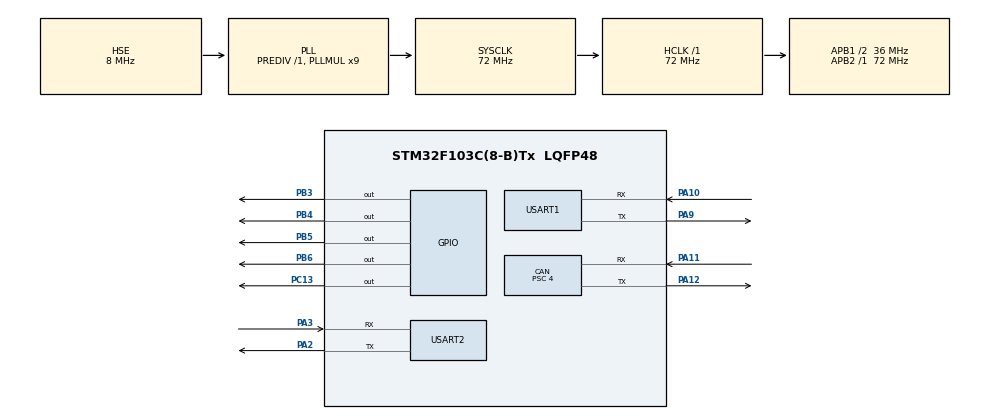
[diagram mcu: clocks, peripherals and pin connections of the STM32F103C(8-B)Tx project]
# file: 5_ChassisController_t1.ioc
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CAN.ABOM=ENABLE
CAN.BS1=CAN_BS1_13TQ
CAN.BS2=CAN_BS2_4TQ
CAN.CalculateBaudRate=500000
CAN.CalculateTimeBit=2000
CAN.CalculateTimeQuantum=111.11111111111111
CAN.Mode=CAN_MODE_NORMAL
CAN.NART=ENABLE
CAN.Prescaler=4
CAN.TXFP=ENABLE
Dma.Request0=USART1_RX
Dma.Request1=USART1_TX
Dma.Request2=USART2_RX
Dma.Request3=USART2_TX
Dma.USART1_RX.0.Direction=DMA_PERIPH_TO_MEMORY
Dma.USART1_RX.0.Instance=DMA1_Channel5
Dma.USART1_RX.0.MemDataAlignment=DMA_MDATAALIGN_BYTE
Dma.USART1_RX.0.MemInc=DMA_MINC_ENABLE
Dma.USART1_RX.0.Mode=DMA_NORMAL
Dma.USART1_RX.0.PeriphDataAlignment=DMA_PDATAALIGN_BYTE
Dma.USART1_RX.0.PeriphInc=DMA_PINC_DISABLE
Dma.USART1_RX.0.Priority=DMA_PRIORITY_HIGH
Dma.USART1_TX.1.Direction=DMA_MEMORY_TO_PERIPH
Dma.USART1_TX.1.Instance=DMA1_Channel4
Dma.USART1_TX.1.MemDataAlignment=DMA_MDATAALIGN_BYTE
Dma.USART1_TX.1.MemInc=DMA_MINC_ENABLE
Dma.USART1_TX.1.Mode=DMA_NORMAL
Dma.USART1_TX.1.PeriphDataAlignment=DMA_PDATAALIGN_BYTE
Dma.USART1_TX.1.PeriphInc=DMA_PINC_DISABLE
Dma.USART1_TX.1.Priority=DMA_PRIORITY_HIGH
Dma.USART2_RX.2.Direction=DMA_PERIPH_TO_MEMORY
Dma.USART2_RX.2.Instance=DMA1_Channel6
Dma.USART2_RX.2.MemDataAlignment=DMA_MDATAALIGN_BYTE
Dma.USART2_RX.2.MemInc=DMA_MINC_ENABLE
Dma.USART2_RX.2.Mode=DMA_NORMAL
Dma.USART2_RX.2.PeriphDataAlignment=DMA_PDATAALIGN_BYTE
Dma.USART2_RX.2.PeriphInc=DMA_PINC_DISABLE
Dma.USART2_RX.2.Priority=DMA_PRIORITY_LOW
Dma.USART2_TX.3.Direction=DMA_MEMORY_TO_PERIPH
Dma.USART2_TX.3.Instance=DMA1_Channel7
Dma.USART2_TX.3.MemDataAlignment=DMA_MDATAALIGN_BYTE
Dma.USART2_TX.3.MemInc=DMA_MINC_ENABLE
Dma.USART2_TX.3.Mode=DMA_NORMAL
Dma.USART2_TX.3.PeriphDataAlignment=DMA_PDATAALIGN_BYTE
Dma.USART2_TX.3.PeriphInc=DMA_PINC_DISABLE
Dma.USART2_TX.3.Priority=DMA_PRIORITY_LOW
FREERTOS.BinarySemaphores01=uart1_tx_sem,Static,uart1_tx_semControlBlock,Depleted
FREERTOS.Events01=uart1_rx_event,Static,uart1_rx_eventControlBlock
FREERTOS.Mutexes01=uart1_tx_mutex,Static,uart1_tx_mutexControlBlock,Available
FREERTOS.Queues01=canRxQueue,16,App_CAN_Message_t,0,Dynamic,NULL,NULL;uartToCanQueue,16,App_UART_Message_t,0,Dynamic,NULL,NULL;canTxQueue,16,App_CAN_Message_t,0,Dynamic,NULL,NULL
FREERTOS.Tasks01=UartToCan_Ta,24,512,Start_UartToCan,Default,NULL,Static,uartToCanTaskBuffer,uartToCanTaskControlBlock;CanRxProcess_Ta,24,512,Start_CanRxProcess,Default,NULL,Static,canRxProcessTasBuffer,canRxProcessTasControlBlock;Heartbeat_Ta,8,64,Start_Heartbeat,Default,NULL,Static,Heartbeat_TaBuffer,Heartbeat_TaControlBlock;ProtocolParser_,25,256,Start_ProtocolParser,Default,NULL,Static,ProtocolParser_Buffer,ProtocolParser_ControlBlock;CommandProcess_Ta,25,256,Start_CommandProcess,Default,NULL,Static,CommandProcess_TaBuffer,CommandProcess_TaControlBlock
FREERTOS.configCHECK_FOR_STACK_OVERFLOW=2
FREERTOS.configMAX_TASK_NAME_LEN=24
FREERTOS.configMINIMAL_STACK_SIZE=64
Mcu.Family=STM32F1
Mcu.Name=STM32F103C(8-B)Tx
Mcu.Package=LQFP48
NVIC.DMA1_Channel4_IRQn=true\:5\:0\:false\:false\:true\:true\:false\:true\:true
NVIC.DMA1_Channel5_IRQn=true\:5\:0\:false\:false\:true\:true\:false\:true\:true
NVIC.DMA1_Channel6_IRQn=true\:5\:0\:false\:false\:true\:true\:false\:true\:true
NVIC.DMA1_Channel7_IRQn=true\:5\:0\:false\:false\:true\:true\:false\:true\:true
NVIC.PriorityGroup=NVIC_PRIORITYGROUP_4
NVIC.TIM4_IRQn=true\:15\:0\:false\:false\:true\:false\:false\:true\:true
NVIC.TimeBase=TIM4_IRQn
NVIC.TimeBaseIP=TIM4
NVIC.USART1_IRQn=true\:5\:0\:false\:false\:true\:true\:true\:true\:true
NVIC.USART2_IRQn=true\:5\:0\:false\:false\:true\:true\:true\:true\:true
NVIC.USB_HP_CAN1_TX_IRQn=true\:5\:0\:false\:false\:true\:true\:true\:true\:true
NVIC.USB_LP_CAN1_RX0_IRQn=true\:5\:0\:false\:false\:true\:true\:true\:true\:true
PA10.Mode=Asynchronous
PA10.Signal=USART1_RX
PA11.Mode=CAN_Activate
PA11.Signal=CAN_RX
PA12.Mode=CAN_Activate
PA12.Signal=CAN_TX
PA13.Mode=Serial_Wire
PA13.Signal=SYS_JTMS-SWDIO
PA14.Mode=Serial_Wire
PA14.Signal=SYS_JTCK-SWCLK
PA2.Mode=Asynchronous
PA2.Signal=USART2_TX
PA3.Mode=Asynchronous
PA3.Signal=USART2_RX
PA9.Mode=Asynchronous
PA9.Signal=USART1_TX
PB3.PinState=GPIO_PIN_SET
PB3.Signal=GPIO_Output
PB4.PinState=GPIO_PIN_SET
PB4.Signal=GPIO_Output
PB5.PinState=GPIO_PIN_SET
PB5.Signal=GPIO_Output
PB6.PinState=GPIO_PIN_SET
PB6.Signal=GPIO_Output
PC13-TAMPER-RTC.PinState=GPIO_PIN_SET
PC13-TAMPER-RTC.Signal=GPIO_Output
PD0-OSC_IN.Mode=HSE-External-Oscillator
PD0-OSC_IN.Signal=RCC_OSC_IN
PD1-OSC_OUT.Mode=HSE-External-Oscillator
PD1-OSC_OUT.Signal=RCC_OSC_OUT
ProjectManager.HeapSize=0x200
ProjectManager.StackSize=0x800
ProjectManager.TargetToolchain=CMake
RCC.AHBFreq_Value=72000000
RCC.APB1CLKDivider=RCC_HCLK_DIV2
RCC.APB1Freq_Value=36000000
RCC.APB1TimFreq_Value=72000000
RCC.APB2Freq_Value=72000000
RCC.APB2TimFreq_Value=72000000
RCC.EnbaleCSS=true
RCC.HCLKFreq_Value=72000000
RCC.PLLMUL=RCC_PLL_MUL9
RCC.PLLSourceVirtual=RCC_PLLSOURCE_HSE
RCC.SYSCLKFreq_VALUE=72000000
RCC.SYSCLKSource=RCC_SYSCLKSOURCE_PLLCLK
RCC.USBFreq_Value=72000000
USART1.VirtualMode=VM_ASYNC
USART2.VirtualMode=VM_ASYNC
VP_FREERTOS_VS_CMSIS_V2.Mode=CMSIS_V2
VP_SYS_VS_tim4.Mode=TIM4
board=custom

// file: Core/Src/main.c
/* USER CODE BEGIN Header */
/**
  ******************************************************************************
  * @file           : main.c
  * @brief          : Main program body
  ******************************************************************************
  * @attention
  *
  * Copyright (c) 2026 STMicroelectronics.
  * All rights reserved.
  *
  * This software is licensed under terms that can be found in the LICENSE file
  * in the root directory of this software component.
  * If no LICENSE file comes with this software, it is provided AS-IS.
  *
  ******************************************************************************
  */
/* USER CODE END Header */
#include "main.h"
#include "cmsis_os.h"
#include "can.h"
#include "dma.h"
#include "usart.h"
#include "gpio.h"

void SystemClock_Config(void);
void MX_FREERTOS_Init(void);

int main(void)
{

  /* MCU Configuration--------------------------------------------------------*/

  /* Reset of all peripherals, Initializes the Flash interface and the Systick. */
  HAL_Init();

  /* Configure the system clock */
  SystemClock_Config();

  /* Initialize all configured peripherals */
  MX_GPIO_Init();
  MX_DMA_Init();
  MX_CAN_Init();
  MX_USART1_UART_Init();
  MX_USART2_UART_Init();

  /* USER CODE BEGIN 2 */
  /* 启动诊断：Phase1 调试时启用，验证UART TX硬件正常。
   * 用完后注释掉以减少启动输出。
   */
  // HAL_UART_Transmit(&huart1, (uint8_t*)"BOOT: System starting...\r\n", 26, 100);

  CAN_Filter_Config(); // 初始化CAN过滤器

  if (HAL_CAN_Start(&hcan) != HAL_OK) // 启动CAN
  {
    Error_Handler();
  }

  if (HAL_CAN_ActivateNotification(&hcan, CAN_IT_RX_FIFO0_MSG_PENDING) != HAL_OK) // 使能CAN接收中断
  {
    Error_Handler();
  }

  UART_Receive_Start(); // 启动UART接收
  /* USER CODE END 2 */

  /* Init scheduler */
  osKernelInitialize();  /* Call init function for freertos objects (in cmsis_os2.c) */
  MX_FREERTOS_Init();

  /* Start scheduler */
  osKernelStart();

  /* We should never get here as control is now taken by the scheduler */

  /* Infinite loop */
  while (1)
  {

  }
}

void SystemClock_Config(void)
{
  RCC_OscInitTypeDef RCC_OscInitStruct = {0};
  RCC_ClkInitTypeDef RCC_ClkInitStruct = {0};

  /** Initializes the RCC Oscillators according to the specified parameters
  * in the RCC_OscInitTypeDef structure.
  */
  RCC_OscInitStruct.OscillatorType = RCC_OSCILLATORTYPE_HSE;
  RCC_OscInitStruct.HSEState = RCC_HSE_ON;
  RCC_OscInitStruct.HSEPredivValue = RCC_HSE_PREDIV_DIV1;
  RCC_OscInitStruct.HSIState = RCC_HSI_ON;
  RCC_OscInitStruct.PLL.PLLState = RCC_PLL_ON;
  RCC_OscInitStruct.PLL.PLLSource = RCC_PLLSOURCE_HSE;
  RCC_OscInitStruct.PLL.PLLMUL = RCC_PLL_MUL9;
  if (HAL_RCC_OscConfig(&RCC_OscInitStruct) != HAL_OK)
  {
    Error_Handler();
  }

  /** Initializes the CPU, AHB and APB buses clocks
  */
  RCC_ClkInitStruct.ClockType = RCC_CLOCKTYPE_HCLK|RCC_CLOCKTYPE_SYSCLK
                              |RCC_CLOCKTYPE_PCLK1|RCC_CLOCKTYPE_PCLK2;
  RCC_ClkInitStruct.SYSCLKSource = RCC_SYSCLKSOURCE_PLLCLK;
  RCC_ClkInitStruct.AHBCLKDivider = RCC_SYSCLK_DIV1;
  RCC_ClkInitStruct.APB1CLKDivider = RCC_HCLK_DIV2;
  RCC_ClkInitStruct.APB2CLKDivider = RCC_HCLK_DIV1;

  if (HAL_RCC_ClockConfig(&RCC_ClkInitStruct, FLASH_LATENCY_2) != HAL_OK)
  {
    Error_Handler();
  }

  /** Enables the Clock Security System
  */
  HAL_RCC_EnableCSS();
}

void HAL_TIM_PeriodElapsedCallback(TIM_HandleTypeDef *htim)
{
  if (htim->Instance == TIM4)
  {
    HAL_IncTick();
  }
}

void Error_Handler(void)
{
  __disable_irq();
  while (1)
  {
  }
}

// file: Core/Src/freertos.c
/* USER CODE BEGIN Header */
/**
  ******************************************************************************
  * File Name          : freertos.c
  * Description        : Code for freertos applications
  ******************************************************************************
  * @attention
  *
  * Copyright (c) 2026 STMicroelectronics.
  * All rights reserved.
  *
  * This software is licensed under terms that can be found in the LICENSE file
  * in the root directory of this software component.
  * If no LICENSE file comes with this software, it is provided AS-IS.
  *
  ******************************************************************************
  */
/* USER CODE END Header */

#include "FreeRTOS.h"
#include "task.h"
#include "main.h"
#include "cmsis_os.h"

/* USER CODE BEGIN Includes */

#include "app_includes.h"

/* USER CODE END Includes */

typedef StaticTask_t osStaticThreadDef_t;
typedef StaticSemaphore_t osStaticMutexDef_t;
typedef StaticSemaphore_t osStaticSemaphoreDef_t;
typedef StaticEventGroup_t osStaticEventGroupDef_t;

/* Definitions for UartToCan_Ta */
osThreadId_t UartToCan_TaHandle;
uint32_t uartToCanTaskBuffer[ 512 ];
osStaticThreadDef_t uartToCanTaskControlBlock;
const osThreadAttr_t UartToCan_Ta_attributes = {
  .name = "UartToCan_Ta",
  .cb_mem = &uartToCanTaskControlBlock,
  .cb_size = sizeof(uartToCanTaskControlBlock),
  .stack_mem = &uartToCanTaskBuffer[0],
  .stack_size = sizeof(uartToCanTaskBuffer),
  .priority = (osPriority_t) osPriorityNormal,
};
/* Definitions for CanRxProcess_Ta */
osThreadId_t CanRxProcess_TaHandle;
uint32_t canRxProcessTasBuffer[ 512 ];
osStaticThreadDef_t canRxProcessTasControlBlock;
const osThreadAttr_t CanRxProcess_Ta_attributes = {
  .name = "CanRxProcess_Ta",
  .cb_mem = &canRxProcessTasControlBlock,
  .cb_size = sizeof(canRxProcessTasControlBlock),
  .stack_mem = &canRxProcessTasBuffer[0],
  .stack_size = sizeof(canRxProcessTasBuffer),
  .priority = (osPriority_t) osPriorityNormal,
};
/* Definitions for Heartbeat_Ta */
osThreadId_t Heartbeat_TaHandle;
uint32_t Heartbeat_TaBuffer[ 64 ];
osStaticThreadDef_t Heartbeat_TaControlBlock;
const osThreadAttr_t Heartbeat_Ta_attributes = {
  .name = "Heartbeat_Ta",
  .cb_mem = &Heartbeat_TaControlBlock,
  .cb_size = sizeof(Heartbeat_TaControlBlock),
  .stack_mem = &Heartbeat_TaBuffer[0],
  .stack_size = sizeof(Heartbeat_TaBuffer),
  .priority = (osPriority_t) osPriorityLow,
};
/* Definitions for ProtocolParser_ */
osThreadId_t ProtocolParser_Handle;
uint32_t ProtocolParser_Buffer[ 256 ];
osStaticThreadDef_t ProtocolParser_ControlBlock;
const osThreadAttr_t ProtocolParser__attributes = {
  .name = "ProtocolParser_",
  .cb_mem = &ProtocolParser_ControlBlock,
  .cb_size = sizeof(ProtocolParser_ControlBlock),
  .stack_mem = &ProtocolParser_Buffer[0],
  .stack_size = sizeof(ProtocolParser_Buffer),
  .priority = (osPriority_t) osPriorityNormal1,
};
/* Definitions for CommandProcess_Ta */
osThreadId_t CommandProcess_TaHandle;
uint32_t CommandProcess_TaBuffer[ 256 ];
osStaticThreadDef_t CommandProcess_TaControlBlock;
const osThreadAttr_t CommandProcess_Ta_attributes = {
  .name = "CommandProcess_Ta",
  .cb_mem = &CommandProcess_TaControlBlock,
  .cb_size = sizeof(CommandProcess_TaControlBlock),
  .stack_mem = &CommandProcess_TaBuffer[0],
  .stack_size = sizeof(CommandProcess_TaBuffer),
  .priority = (osPriority_t) osPriorityNormal1,
};
/* Definitions for canRxQueue */
osMessageQueueId_t canRxQueueHandle;
const osMessageQueueAttr_t canRxQueue_attributes = {
  .name = "canRxQueue"
};
/* Definitions for uartToCanQueue */
osMessageQueueId_t uartToCanQueueHandle;
const osMessageQueueAttr_t uartToCanQueue_attributes = {
  .name = "uartToCanQueue"
};
/* Definitions for canTxQueue */
osMessageQueueId_t canTxQueueHandle;
const osMessageQueueAttr_t canTxQueue_attributes = {
  .name = "canTxQueue"
};
/* Definitions for uart1_tx_mutex */
osMutexId_t uart1_tx_mutexHandle;
osStaticMutexDef_t uart1_tx_mutexControlBlock;
const osMutexAttr_t uart1_tx_mutex_attributes = {
  .name = "uart1_tx_mutex",
  .cb_mem = &uart1_tx_mutexControlBlock,
  .cb_size = sizeof(uart1_tx_mutexControlBlock),
};
/* Definitions for uart1_tx_sem */
osSemaphoreId_t uart1_tx_semHandle;
osStaticSemaphoreDef_t uart1_tx_semControlBlock;
const osSemaphoreAttr_t uart1_tx_sem_attributes = {
  .name = "uart1_tx_sem",
  .cb_mem = &uart1_tx_semControlBlock,
  .cb_size = sizeof(uart1_tx_semControlBlock),
};
/* Definitions for uart1_rx_event */
osEventFlagsId_t uart1_rx_eventHandle;
osStaticEventGroupDef_t uart1_rx_eventControlBlock;
const osEventFlagsAttr_t uart1_rx_event_attributes = {
  .name = "uart1_rx_event",
  .cb_mem = &uart1_rx_eventControlBlock,
  .cb_size = sizeof(uart1_rx_eventControlBlock),
};

void Start_UartToCan(void *argument);
void Start_CanRxProcess(void *argument);
void Start_Heartbeat(void *argument);
void Start_ProtocolParser(void *argument);
void Start_CommandProcess(void *argument);

void MX_FREERTOS_Init(void); /* (MISRA C 2004 rule 8.1) */

/* Hook prototypes */
void vApplicationStackOverflowHook(xTaskHandle xTask, signed char *pcTaskName);

/* USER CODE BEGIN 4 */
void vApplicationStackOverflowHook(xTaskHandle xTask, signed char *pcTaskName)
{
  /* 当检测到栈溢出时，程序会跳到这里 */
   /* 1. 强制翻转或点亮 LED（比如 PC13）作为视觉报警 */
   HAL_GPIO_WritePin(GPIOC, GPIO_PIN_13, GPIO_PIN_SET);

   /* 2. 这里的 pcTaskName 指向溢出任务的名字，
         你可以在 Ozone 的 Watch 窗口查看这个变量 */
   (void)xTask;
   (void)pcTaskName;

   /* 3. 进入死循环，方便调试器接入 */
   while (1)
   {
       // 在这一行打一个断点！
   }

   /* Run time stack overflow checking is performed if
   configCHECK_FOR_STACK_OVERFLOW is defined to 1 or 2. This hook function is
   called if a stack overflow is detected. */
}
/* USER CODE END 4 */

void MX_FREERTOS_Init(void) {
  /* Create the mutex(es) */
  /* creation of uart1_tx_mutex */
  uart1_tx_mutexHandle = osMutexNew(&uart1_tx_mutex_attributes);

  /* Create the semaphores(s) */
  /* creation of uart1_tx_sem */
  uart1_tx_semHandle = osSemaphoreNew(1, 0, &uart1_tx_sem_attributes);

  /* Create the queue(s) */
  /* creation of canRxQueue */
  canRxQueueHandle = osMessageQueueNew (16, sizeof(App_CAN_Message_t), &canRxQueue_attributes);

  /* creation of uartToCanQueue */
  uartToCanQueueHandle = osMessageQueueNew (16, sizeof(App_UART_Message_t), &uartToCanQueue_attributes);

  /* creation of canTxQueue */
  canTxQueueHandle = osMessageQueueNew (16, sizeof(App_CAN_Message_t), &canTxQueue_attributes);

  /* Create the thread(s) */
  /* creation of UartToCan_Ta */
  UartToCan_TaHandle = osThreadNew(Start_UartToCan, NULL, &UartToCan_Ta_attributes);

  /* creation of CanRxProcess_Ta */
  CanRxProcess_TaHandle = osThreadNew(Start_CanRxProcess, NULL, &CanRxProcess_Ta_attributes);

  /* creation of Heartbeat_Ta */
  Heartbeat_TaHandle = osThreadNew(Start_Heartbeat, NULL, &Heartbeat_Ta_attributes);

  /* creation of ProtocolParser_ */
  ProtocolParser_Handle = osThreadNew(Start_ProtocolParser, NULL, &ProtocolParser__attributes);

  /* creation of CommandProcess_Ta */
  CommandProcess_TaHandle = osThreadNew(Start_CommandProcess, NULL, &CommandProcess_Ta_attributes);

  /* creation of uart1_rx_event */
  uart1_rx_eventHandle = osEventFlagsNew(&uart1_rx_event_attributes);

}

void Start_UartToCan(void *argument)
{
  /* USER CODE BEGIN Start_UartToCan */
  /* Infinite loop */

  UartToCan_Task_Run(argument);
  /* USER CODE END Start_UartToCan */
}

void Start_CanRxProcess(void *argument)
{
  /* USER CODE BEGIN Start_CanRxProcess */
  /* Infinite loop */

  CanRxProcess_Task_Run(argument);
  /* USER CODE END Start_CanRxProcess */
}

void Start_Heartbeat(void *argument)
{
  /* USER CODE BEGIN Start_Heartbeat */
  /* Infinite loop */

  Heartbeat_Task_Run(argument);
  /* USER CODE END Start_Heartbeat */
}

void Start_ProtocolParser(void *argument)
{
  /* USER CODE BEGIN Start_ProtocolParser */
  /* Infinite loop */

  ProtocolParser_Task_Run(argument);
  /* USER CODE END Start_ProtocolParser */
}

void Start_CommandProcess(void *argument)
{
  /* USER CODE BEGIN Start_CommandProcess */
  CommandProcess_Task_Run(argument);
  /* USER CODE END Start_CommandProcess */
}
